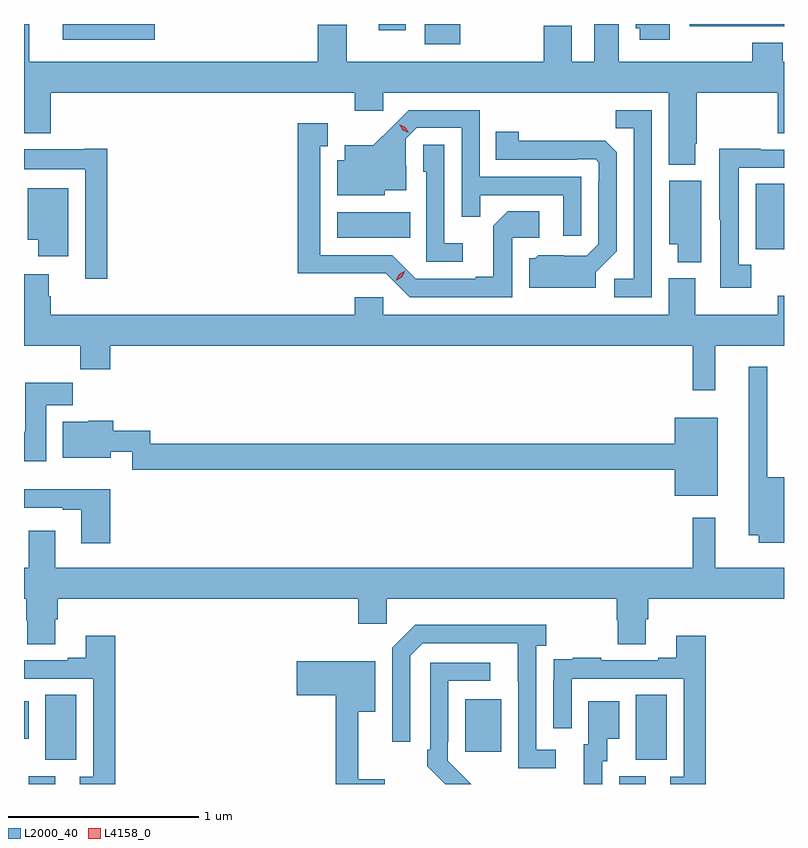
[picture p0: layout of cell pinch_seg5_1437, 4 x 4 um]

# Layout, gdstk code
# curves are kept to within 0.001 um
import gdstk
lib = gdstk.Library(unit=1e-6, precision=1e-09)
def R(c, l, rs):  # rectangles x0, y0, x1, y1
    for r in rs: c.add(gdstk.rectangle(r[:2], r[2:], *l))
def P(c, l, *ps):  # polygons
    for p in ps: c.add(gdstk.Polygon(p, *l))
L2000_40 = (2000, 40)
L4158_0 = (4158, 0)

pinch_seg5_1437 = lib.new_cell('pinch_seg5_1437')
R(pinch_seg5_1437, L2000_40, [(118.877,883.758,119.017,883.8), (121.985,883.758,122.125,883.8), (118.964,883.885,119.128,884.228), (122.072,883.885,122.236,884.228), (121.175,883.929,121.363,884.203), (118.852,883.997,118.876,884.194), (122.702,886.572,122.852,886.916), (120.5,886.634,120.884,886.768), (120.962,887.651,121.147,887.758), (119.057,887.675,119.539,887.758), (120.719,887.724,120.862,887.758), (122.355,887.747,122.852,887.758)])
P(pinch_seg5_1437, L2000_40, [(122.251,887.758),(122.072,887.758),(122.072,887.736),(122.093,887.736),(122.093,887.676),(122.251,887.676)],
  [(122.386,887.128),(122.394,887.128),(122.394,887.396),(122.818,887.396),(122.818,887.182),(122.852,887.182),(122.852,887.56),(122.846,887.56),(122.846,887.659),(122.686,887.659),(122.686,887.56),(121.981,887.56),(121.981,887.758),(121.853,887.758),(121.853,887.56),(121.735,887.56),(121.735,887.748),(121.588,887.748),(121.588,887.56),(120.55,887.56),(120.55,887.755),(120.398,887.755),(120.398,887.56),(118.879,887.56),(118.879,887.758),(118.852,887.758),(118.852,887.183),(118.994,887.183),(118.994,887.396),(120.593,887.396),(120.593,887.301),(120.744,887.301),(120.744,887.396),(122.246,887.396),(122.246,887.018),(122.386,887.018)],
  [(121.785,886.953),(121.251,886.953),(121.251,887.304),(120.878,887.304),(120.691,887.119),(120.539,887.119),(120.539,887.041),(120.5,887.041),(120.5,886.856),(120.75,886.856),(120.75,886.883),(120.865,886.883),(120.865,887.012),(120.861,887.012),(120.861,887.154),(120.918,887.211),(121.155,887.211),(121.155,886.744),(121.253,886.744),(121.253,886.857),(121.689,886.857),(121.689,886.644),(121.785,886.644)],
  [(122.157,887.304),(121.966,887.304),(121.966,887.209),(122.061,887.209),(122.061,886.416),(121.959,886.416),(121.959,886.32),(122.157,886.32)],
  [(121.422,886.632),(121.564,886.632),(121.564,886.772),(121.399,886.772),(121.323,886.696),(121.323,886.429),(121.229,886.429),(121.229,886.416),(120.915,886.416),(120.789,886.542),(120.412,886.542),(120.412,887.115),(120.451,887.115),(120.451,887.236),(120.294,887.236),(120.294,886.445),(120.756,886.446),(120.882,886.32),(121.422,886.32)],
  [(121.861,886.452),(121.971,886.562),(121.971,887.084),(121.912,887.143),(121.455,887.144),(121.455,887.191),(121.336,887.191),(121.336,887.043),(121.76,887.043),(121.76,887.046),(121.86,887.046),(121.878,887.028),(121.878,886.928),(121.875,886.928),(121.875,886.599),(121.815,886.539),(121.558,886.54),(121.542,886.524),(121.511,886.524),(121.511,886.37),(121.861,886.37)],
  [(121.162,886.603),(121.065,886.603),(121.065,887.123),(120.954,887.123),(120.954,886.98),(120.969,886.98),(120.969,886.506),(121.162,886.506)],
  [(122.68,886.491),(122.613,886.491),(122.613,887.001),(122.852,887.001),(122.852,887.097),(122.729,887.097),(122.729,887.102),(122.51,887.102),(122.51,886.728),(122.517,886.728),(122.517,886.371),(122.68,886.371)],
  [(119.291,887.101),(119.168,887.101),(119.168,887.098),(118.852,887.098),(118.852,886.994),(119.175,886.994),(119.175,886.416),(119.291,886.416)],
  [(122.416,886.933),(122.249,886.933),(122.249,886.598),(122.294,886.598),(122.294,886.505),(122.416,886.505)],
  [(119.086,886.894),(118.871,886.894),(118.871,886.622),(118.928,886.622),(118.928,886.536),(119.086,886.536)],
  [(122.489,886.064),(122.852,886.064),(122.852,886.327),(122.818,886.327),(122.818,886.228),(122.386,886.228),(122.386,886.42),(122.246,886.42),(122.246,886.228),(120.744,886.228),(120.744,886.321),(120.593,886.321),(120.593,886.228),(118.994,886.228),(118.994,886.326),(118.981,886.326),(118.981,886.441),(118.852,886.441),(118.852,886.064),(119.149,886.064),(119.149,885.94),(119.306,885.94),(119.306,886.064),(122.371,886.064),(122.371,885.831),(122.489,885.831)],
  [(122.852,885.373),(122.763,885.373),(122.763,885.955),(122.666,885.955),(122.666,885.068),(122.72,885.068),(122.72,885.029),(122.852,885.029)],
  [(118.969,885.752),(119.108,885.752),(119.108,885.87),(118.859,885.87),(118.859,885.612),(118.852,885.612),(118.852,885.456),(118.969,885.456)],
  [(122.503,885.685),(122.276,885.685),(122.276,885.548),(119.517,885.548),(119.517,885.616),(119.321,885.616),(119.321,885.67),(119.19,885.67),(119.19,885.664),(119.057,885.664),(119.057,885.476),(119.308,885.476),(119.308,885.506),(119.421,885.506),(119.421,885.412),(122.276,885.412),(122.276,885.275),(122.503,885.275)],
  [(119.306,885.31),(118.852,885.31),(118.852,885.213),(119.057,885.213),(119.057,885.201),(119.153,885.201),(119.153,885.024),(119.306,885.024)],
  [(119.017,884.626),(119.03,884.626),(119.03,884.732),(120.611,884.732),(120.611,884.601),(120.762,884.601),(120.762,884.732),(121.973,884.732),(121.973,884.619),(121.978,884.619),(121.978,884.494),(122.125,884.494),(122.125,884.626),(122.138,884.626),(122.138,884.732),(122.852,884.732),(122.852,884.896),(122.49,884.896),(122.49,885.16),(122.371,885.16),(122.371,884.896),(119.017,884.896),(119.017,885.091),(118.877,885.091),(118.877,884.896),(118.852,884.896),(118.852,884.732),(118.865,884.732),(118.865,884.619),(118.87,884.619),(118.87,884.494),(119.017,884.494)],
  [(121.651,883.938),(121.548,883.938),(121.548,884.486),(121.6,884.486),(121.6,884.596),(120.91,884.596),(120.789,884.475),(120.789,883.98),(120.885,883.98),(120.885,884.433),(120.951,884.499),(121.451,884.499),(121.452,883.842),(121.651,883.842)],
  [(119.333,884.539),(119.177,884.539),(119.177,884.422),(119.081,884.422),(119.081,884.409),(118.852,884.409),(118.852,884.313),(119.217,884.313),(119.217,883.797),(119.145,883.797),(119.145,883.758),(119.333,883.758)],
  [(122.441,884.539),(122.285,884.539),(122.285,884.422),(122.189,884.422),(122.189,884.409),(121.889,884.409),(121.889,884.422),(121.741,884.422),(121.741,884.415),(121.639,884.415),(121.639,884.306),(121.638,884.306),(121.638,884.052),(121.734,884.052),(121.734,884.313),(122.325,884.313),(122.325,883.797),(122.253,883.797),(122.253,883.758),(122.441,883.758)],
  [(120.751,883.783),(120.611,883.783),(120.611,884.138),(120.7,884.138),(120.7,884.403),(120.288,884.403),(120.288,884.225),(120.493,884.225),(120.493,883.758),(120.751,883.758)],
  [(121.083,883.881),(121.083,883.981),(121.086,883.981),(121.086,884.301),(121.306,884.301),(121.306,884.397),(120.99,884.397),(120.99,883.939),(120.975,883.939),(120.975,883.851),(121.068,883.758),(121.207,883.758)],
  [(121.896,883.878),(121.921,883.878),(121.921,883.997),(121.984,883.997),(121.984,884.194),(121.823,884.194),(121.823,883.968),(121.799,883.968),(121.799,883.758),(121.896,883.758)])
P(pinch_seg5_1437, L4158_0, [(120.876,887.185),(120.845,887.2),(120.827,887.23),(120.827,887.23),(120.828,887.23),(120.858,887.215),(120.876,887.185),(120.876,887.185)],
  [(120.809,886.407),(120.809,886.408),(120.827,886.44),(120.858,886.459),(120.859,886.459),(120.859,886.459),(120.841,886.426),(120.809,886.407)])

lib.write_gds('pinch_seg5_1437.gds')
